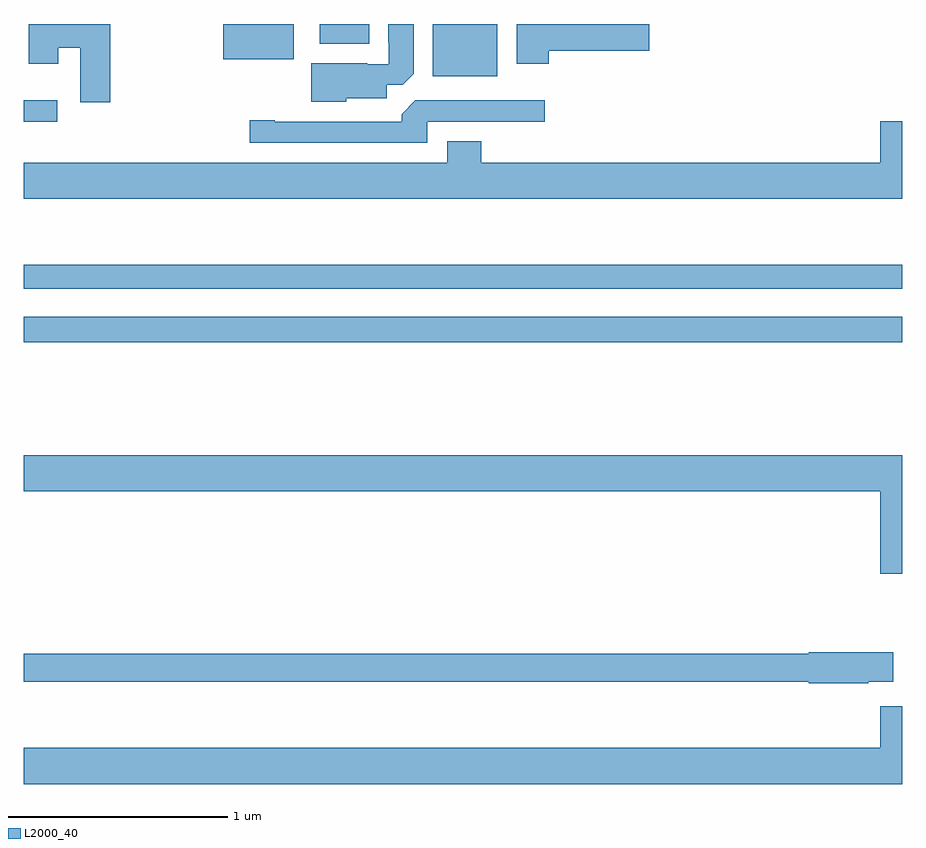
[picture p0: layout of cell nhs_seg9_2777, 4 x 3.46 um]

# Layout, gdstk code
import gdstk
lib = gdstk.Library(unit=1e-6, precision=1e-09)
def R(c, l, rs):  # rectangles x0, y0, x1, y1
    for r in rs: c.add(gdstk.rectangle(r[:2], r[2:], *l))
def P(c, l, *ps):  # polygons
    for p in ps: c.add(gdstk.Polygon(p, *l))
L2000_40 = (2000, 40)

nhs_seg9_2777 = lib.new_cell('nhs_seg9_2777')
R(nhs_seg9_2777, L2000_40, [(269,1245.052,273,1245.168), (269,1245.294,273,1245.403), (269,1246.056,269.152,1246.152), (270.863,1246.262,271.156,1246.5), (269.909,1246.34,270.229,1246.5), (270.347,1246.409,270.574,1246.5)])
P(nhs_seg9_2777, L2000_40, [(269.393,1246.5),(269.024,1246.5),(269.024,1246.32),(269.158,1246.32),(269.158,1246.391),(269.258,1246.391),(269.258,1246.143),(269.393,1246.143)],
  [(271.391,1246.379),(271.849,1246.379),(271.849,1246.5),(271.244,1246.5),(271.244,1246.32),(271.391,1246.32)],
  [(270.468,1246.163),(270.652,1246.163),(270.652,1246.224),(270.726,1246.224),(270.775,1246.273),(270.775,1246.5),(270.659,1246.5),(270.659,1246.417),(270.663,1246.417),(270.663,1246.317),(270.563,1246.317),(270.563,1246.321),(270.308,1246.321),(270.308,1246.145),(270.468,1246.145)],
  [(270.837,1246.056),(271.372,1246.056),(271.372,1246.152),(270.783,1246.152),(270.722,1246.09),(270.722,1246.056),(270.142,1246.056),(270.142,1246.061),(270.03,1246.061),(270.03,1245.96),(270.837,1245.96)],
  [(273,1246.057),(272.9,1246.057),(272.9,1245.868),(271.082,1245.868),(271.082,1245.967),(270.929,1245.967),(270.929,1245.868),(269,1245.868),(269,1245.704),(273,1245.704)],
  [(273,1244.536),(269,1244.536),(269,1244.372),(272.9,1244.372),(272.9,1243.998),(273,1243.998)],
  [(272.846,1243.505),(272.959,1243.505),(272.959,1243.64),(272.574,1243.64),(272.574,1243.634),(269,1243.634),(269,1243.506),(272.574,1243.506),(272.574,1243.498),(272.846,1243.498)],
  [(273,1243.393),(272.9,1243.393),(272.9,1243.204),(269,1243.204),(269,1243.04),(273,1243.04)])

lib.write_gds('nhs_seg9_2777.gds')
